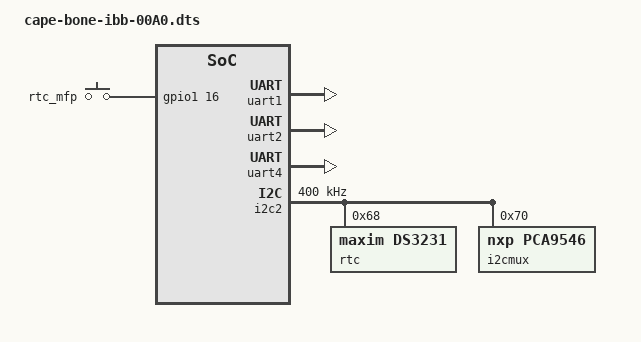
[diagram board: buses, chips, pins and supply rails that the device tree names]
/*
 * This is the Device Tree overlay for the IBB Home Automation Cape
 * for BeagleBone, BeagleBone Black and Beaglebone Green.
 *
 * Copyright (c) 2015 - Ingenieurbuero Budde (http://ing-budde.de)
 * This program is free software; you can redistribute it and/or modify
 * it under the terms of the GNU General Public License version 2 as
 * published by the Free Software Foundation.
 */
/dts-v1/;
/plugin/;

#include <dt-bindings/board/am335x-bbw-bbb-base.h>
#include <dt-bindings/gpio/gpio.h>
#include <dt-bindings/pinctrl/am33xx.h>

/ {
	compatible = "ti,beaglebone", "ti,beaglebone-black", "ti,beaglebone-green";

	/* identification */
	part-number = "cape-bone-ibb";
	version = "00A0";

	/* state the resources this cape uses */
	exclusive-use =
		/* the pin header uses */
		"P9.24",	/* uart1_txd */
		"P9.26",	/* uart1_rxd */
		"P9.21",	/* uart2_txd */
		"P9.22",	/* uart2_rxd */
		"P9.13",	/* uart4_txd */
		"P9.11",	/* uart4_rxd */
		"P9.15",	/* rtc-int */

		/* the hardware ip uses */
		"uart1",
		"uart2",
		"uart4",
		"gpio1_16";

	fragment@0 {
		target = <&am33xx_pinmux>;
		__overlay__ {
			bb_uart1_pins: pinmux_bb_uart1_pins {
				pinctrl-single,pins = <
					BONE_P9_24 (PIN_OUTPUT_PULLDOWN | MUX_MODE0) /* uart1_txd.uart1_txd */
					BONE_P9_26 (PIN_INPUT_PULLUP | MUX_MODE0) /* uart1_rxd.uart1_rxd */
				>;
			};
			bb_uart2_pins: pinmux_bb_uart2_pins {
				pinctrl-single,pins = <
					BONE_P9_21 (PIN_OUTPUT_PULLDOWN | MUX_MODE1) /* spi0_d0.uart2_txd */
					BONE_P9_22 (PIN_INPUT_PULLUP | MUX_MODE1) /* spi0_sclk.uart2_rxd */
				>;
			};
			bb_uart4_pins: pinmux_bb_uart4_pins {
				pinctrl-single,pins = <
					BONE_P9_11 (PIN_INPUT_PULLUP | MUX_MODE6) /* gpmc_wait0.uart4_rxd_mux2 */
					BONE_P9_13 (PIN_OUTPUT_PULLDOWN | MUX_MODE6) /* gpmc_wpn.uart4_txd_mux2 */
				>;
			};
			bb_gpio1_16_pins: pinmux_bb_gpio1_16_pins {
				pinctrl-single,pins = <
					BONE_P9_15 (PIN_INPUT | MUX_MODE7) /* gpmc_a0.gpio1_16 */
				>;
			};
		};
	};

	fragment@1 {
		target = <&uart1>;
		__overlay__ {
			status = "okay";
			pinctrl-names = "default";
			pinctrl-0 = <&bb_uart1_pins>;
		};
	};

	fragment@2 {
		target = <&uart2>;
		__overlay__ {
			status = "okay";
			pinctrl-names = "default";
			pinctrl-0 = <&bb_uart2_pins>;
		};
	};

	fragment@3 {
		target = <&uart4>;
		__overlay__ {
			status = "okay";
			pinctrl-names = "default";
			pinctrl-0 = <&bb_uart4_pins>;
		};
	};

	fragment@4 {
		target = <&i2c2>;
		__overlay__ {
			/* overwrite clock freq */
			clock-frequency = <400000>;

			/* shut up DTC warnings */
			#address-cells = <1>;
			#size-cells = <0>;

			/* RTC */
			rtc@68 {
				compatible = "maxim,ds3231";
				reg = <0x68>;
			};

			/* PCA9546 I2C multiplexer */
			i2cmux@70 {
				compatible = "nxp,pca9546";
				#address-cells = <1>;
				#size-cells = <0>;
				reg = <0x70>;

				im0: bus@0 {
					compatible = "nxp,pca954x-bus";
					reg = <0>;
				};
				im1: bus@1 {
					compatible = "nxp,pca954x-bus";
					reg = <1>;
				};
				im2: bus@2 {
					compatible = "nxp,pca954x-bus";
					reg = <2>;
				};
				im3: bus@3 {
					compatible = "nxp,pca954x-bus";
					reg = <3>;
				};
			};
		};
	};

	fragment@5 {
		target-path="/";
		__overlay__ {
			gpio_keys {
				compatible = "gpio-keys";
				pinctrl-names = "default";
				pinctrl-0 = <&bb_gpio1_16_pins>;

				/* avoid stupid warning */
				#address-cells = <1>;
				#size-cells = <0>;

				rtc_mfp@1 {
					label = "rtc_mfp";
					gpios = <&gpio1 16 GPIO_ACTIVE_HIGH>;
					linux,code = <143>; /* System Wake Up */
					gpio-key,wakeup;
				};
			};

			aliases {
				i2c3 = &im0;
				i2c4 = &im1;
				i2c5 = &im2;
				i2c6 = &im3;
			};
		};
	};
};

